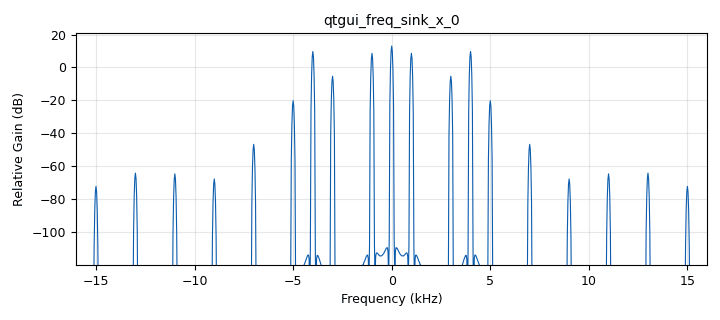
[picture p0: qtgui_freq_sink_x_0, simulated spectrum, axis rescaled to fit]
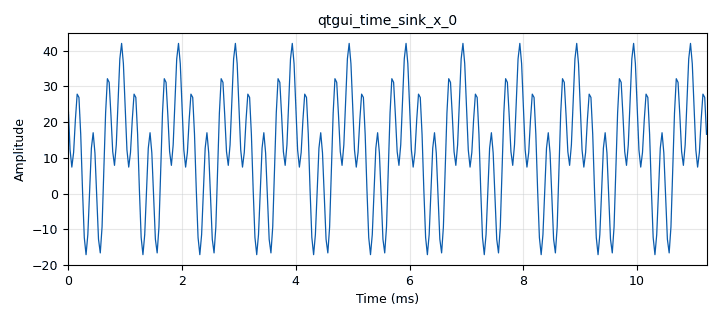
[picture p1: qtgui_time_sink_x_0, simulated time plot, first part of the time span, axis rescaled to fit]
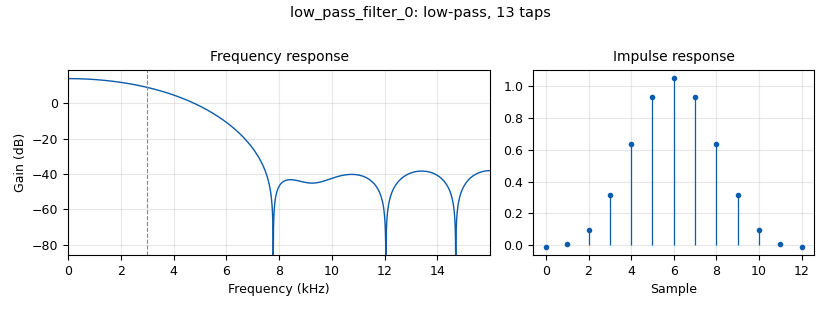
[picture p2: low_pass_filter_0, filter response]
options:
  parameters:
    generate_options: qt_gui
    id: lab1
    output_language: python
    title: Not titled yet
  states: {}

blocks:
- name: amplitud
  id: variable_qtgui_range
  parameters:
    start: '1'
    step: '1'
    stop: '20'
    value: '10'
  states: {}
- name: amplitud2
  id: variable_qtgui_range
  parameters:
    start: '5'
    step: '4'
    stop: '20'
    value: '5'
  states: {}
- name: frecuencia
  id: variable_qtgui_range
  parameters:
    start: '50000'
    step: '10000'
    stop: '200000'
    value: '100000'
  states: {}
- name: samp_rate
  id: variable
  parameters:
    value: 32e3
  states: {}
- name: analog_sig_source_x_0
  id: analog_sig_source_x
  parameters:
    amp: amplitud
    freq: frecuencia
    offset: '0'
    phase: '0'
    samp_rate: samp_rate
    type: float
    waveform: analog.GR_COS_WAVE
  states: {}
- name: analog_sig_source_x_1
  id: analog_sig_source_x
  parameters:
    amp: amplitud2
    freq: 1e3
    offset: '0'
    phase: '0'
    samp_rate: samp_rate
    type: float
    waveform: analog.GR_SQR_WAVE
  states: {}
- name: blocks_add_xx_0
  id: blocks_add_xx
  parameters:
    type: float
  states: {}
- name: blocks_throttle_0
  id: blocks_throttle
  parameters:
    samples_per_second: samp_rate
    type: float
  states: {}
- name: low_pass_filter_0
  id: low_pass_filter
  parameters:
    beta: '10'
    cutoff_freq: '3000'
    decim: '1'
    gain: '5'
    samp_rate: samp_rate
    type: fir_filter_fff
    width: '6000'
    win: window.WIN_HAMMING
  states: {}
- name: qtgui_freq_sink_x_0
  id: qtgui_freq_sink_x
  parameters:
    bw: samp_rate
    fc: '0'
    fftsize: '1024'
    type: float
  states: {}
- name: qtgui_time_sink_x_0
  id: qtgui_time_sink_x
  parameters:
    size: '1024'
    srate: samp_rate
    type: float
  states: {}

connections:
- [analog_sig_source_x_0, '0', blocks_add_xx_0, '0']
- [analog_sig_source_x_1, '0', blocks_add_xx_0, '1']
- [blocks_add_xx_0, '0', blocks_throttle_0, '0']
- [blocks_throttle_0, '0', low_pass_filter_0, '0']
- [low_pass_filter_0, '0', qtgui_freq_sink_x_0, '0']
- [low_pass_filter_0, '0', qtgui_time_sink_x_0, '0']

metadata:
  file_format: 1
  grc_version: 3.9.8.0
